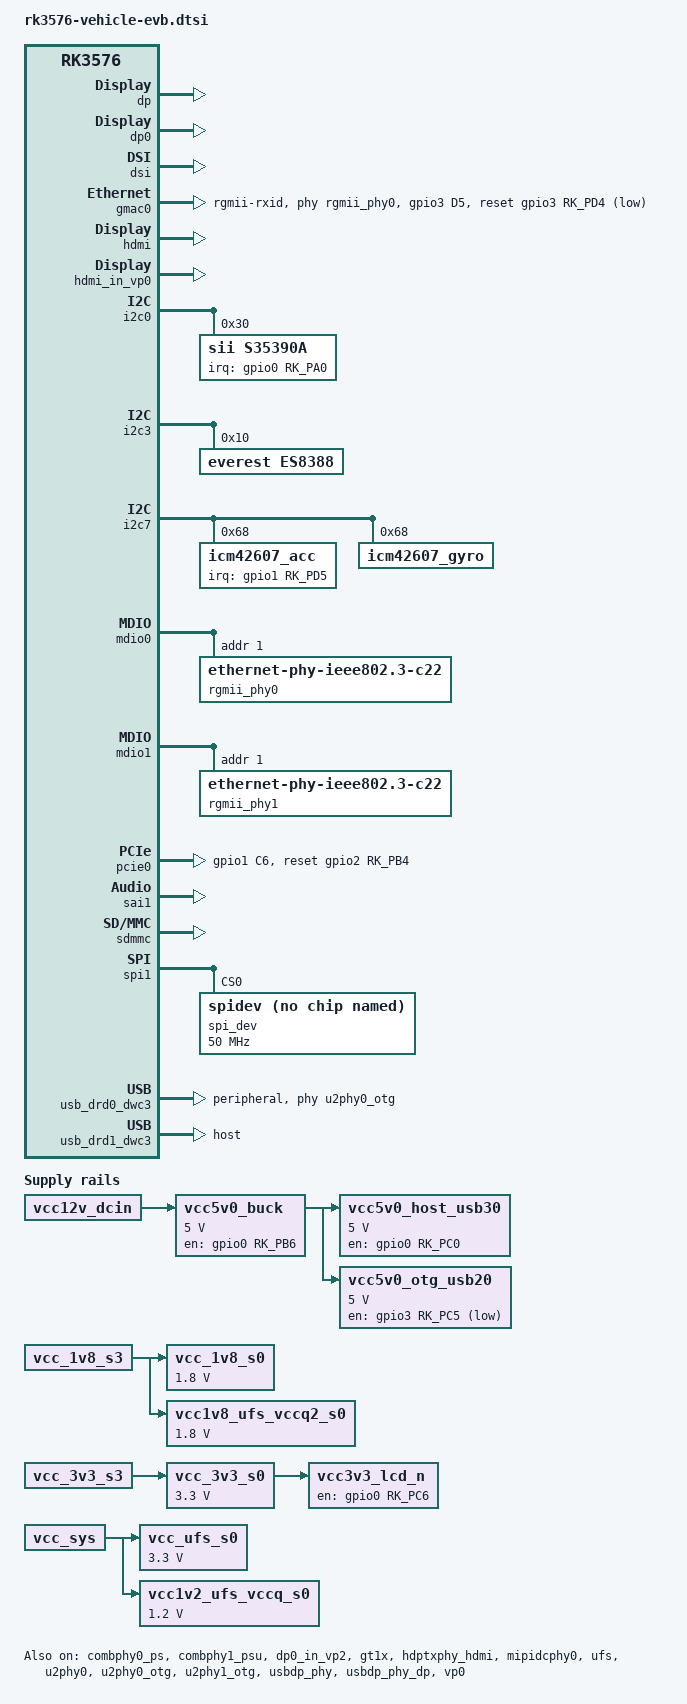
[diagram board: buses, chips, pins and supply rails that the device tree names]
// SPDX-License-Identifier: (GPL-2.0+ OR MIT)
/*
 * Copyright (c) 2024 Rockchip Electronics Co., Ltd.
 *
 */

#include "rk3576-vehicle.dtsi"
#include "rk3576-rk806.dtsi"

/ {
	vcc5v0_buck: vcc5v0-buck {
		compatible = "regulator-fixed";
		regulator-name = "vcc5v0_buck";
		regulator-boot-on;
		regulator-always-on;
		regulator-min-microvolt = <5000000>;
		regulator-max-microvolt = <5000000>;
		enable-active-high;
		gpio = <&gpio0 RK_PB6 GPIO_ACTIVE_HIGH>;
		vin-supply = <&vcc12v_dcin>;
		pinctrl-names = "default";
		pinctrl-0 = <&vcc5v0_buck_en>;
		startup-delay-us = <2500>;
		off-on-delay-us = <1500>;
		regulator-state-mem {
			regulator-on-in-suspend;
			regulator-suspend-microvolt = <5000000>;
		};
	};

	vcc_1v8_s0: vcc-1v8-s0 {
		compatible = "regulator-fixed";
		regulator-name = "vcc_1v8_s0";
		regulator-boot-on;
		regulator-always-on;
		regulator-min-microvolt = <1800000>;
		regulator-max-microvolt = <1800000>;
		vin-supply = <&vcc_1v8_s3>;
	};

	vcc_3v3_s0: vcc-3v3-s0 {
		compatible = "regulator-fixed";
		regulator-name = "vcc_3v3_s0";
		regulator-boot-on;
		regulator-always-on;
		regulator-min-microvolt = <3300000>;
		regulator-max-microvolt = <3300000>;
		vin-supply = <&vcc_3v3_s3>;
	};

	vcc_ufs_s0: vcc-ufs-s0 {
		compatible = "regulator-fixed";
		regulator-name = "vcc_ufs_s0";
		regulator-boot-on;
		regulator-always-on;
		regulator-min-microvolt = <3300000>;
		regulator-max-microvolt = <3300000>;
		vin-supply = <&vcc_sys>;
	};

	vcc1v8_ufs_vccq2_s0: vcc1v8-ufs-vccq2-s0 {
		compatible = "regulator-fixed";
		regulator-name = "vcc1v8_ufs_vccq2_s0";
		regulator-boot-on;
		regulator-always-on;
		regulator-min-microvolt = <1800000>;
		regulator-max-microvolt = <1800000>;
		vin-supply = <&vcc_1v8_s3>;
	};

	vcc1v2_ufs_vccq_s0: vcc1v2-ufs-vccq-s0 {
		compatible = "regulator-fixed";
		regulator-name = "vcc1v2_ufs_vccq_s0";
		regulator-boot-on;
		regulator-always-on;
		regulator-min-microvolt = <1200000>;
		regulator-max-microvolt = <1200000>;
		vin-supply = <&vcc_sys>;
	};

	vcc3v3_lcd_n: vcc3v3-lcd0-n {
		compatible = "regulator-fixed";
		regulator-name = "vcc3v3_lcd0_n";
		regulator-boot-on;
		enable-active-high;
		gpio = <&gpio0 RK_PC6 GPIO_ACTIVE_HIGH>;
		vin-supply = <&vcc_3v3_s0>;
	};

	vcc5v0_host_usb30: vcc5v0-host-usb30 {
		compatible = "regulator-fixed";
		regulator-name = "vcc5v0_host_usb30";
		//regulator-boot-on;
		//regulator-always-on;
		regulator-min-microvolt = <5000000>;
		regulator-max-microvolt = <5000000>;
		enable-active-high;
		gpio = <&gpio0 RK_PC0 GPIO_ACTIVE_HIGH>;
		pinctrl-names = "default";
		pinctrl-0 = <&usb_host3_pwren>;
		startup-delay-us = <2000>;
		off-on-delay-us = <16000>;
		vin-supply = <&vcc5v0_buck>;
	};

	vcc5v0_otg_usb20: vcc5v0-otg-usb20 {
		compatible = "regulator-fixed";
		regulator-name = "vcc5v0_otg_usb20";
		regulator-boot-on;
		regulator-always-on;
		regulator-min-microvolt = <5000000>;
		regulator-max-microvolt = <5000000>;
		//enable-active-high;
		gpio = <&gpio3 RK_PC5 GPIO_ACTIVE_HIGH>;
		pinctrl-names = "default";
		pinctrl-0 = <&usb_otg0_pwren>;
		startup-delay-us = <2000>;
		off-on-delay-us = <16000>;
		vin-supply = <&vcc5v0_buck>;
	};

	dummy_codec: dummy-codec {
		status = "okay";
		compatible = "rockchip,dummy-codec";
		#sound-dai-cells = <0>;
	};

	vehicle_adsp_sound: vehicle-adsp-sound {
		status = "okay";
		compatible = "simple-audio-card";
		simple-audio-card,name = "rockchip,tdm";
		simple-audio-card,format = "i2s";
		simple-audio-card,mclk-fs = <256>;
		simple-audio-card,cpu {
			sound-dai = <&sai1>;
			dai-tdm-slot-num = <8>;
			dai-tdm-slot-width = <32>;
		};
		simple-audio-card,codec {
			sound-dai = <&dummy_codec>;
		};
	};
};

&combphy0_ps {
	status = "okay";
};

&combphy1_psu {
	status = "okay";
};

&dp {
	status = "okay";
};

&dp0 {
	status = "okay";
};

&dp0_in_vp2 {
	status = "okay";
};

/*
 * mipidcphy0 needs to be enabled
 * when dsi is enabled
 */
&dsi {
	status = "okay";
};

&gmac0 {
	/* Use rgmii-rxid mode to disable rx delay inside Soc */
	phy-mode = "rgmii-rxid";
	clock_in_out = "output";

	snps,reset-gpio = <&gpio3 RK_PD4 GPIO_ACTIVE_LOW>;
	snps,reset-active-low;
	/* Reset time is 20ms, 100ms for rtl8211f */
	snps,reset-delays-us = <0 20000 100000>;

	pinctrl-names = "default";
	pinctrl-0 = <&eth0m0_miim
		     &eth0m0_tx_bus2
		     &eth0m0_rx_bus2
		     &eth0m0_rgmii_clk
		     &eth0m0_rgmii_bus
		     &phydisb>;

	tx_delay = <0x20>;
	/* rx_delay = <0x3f>; */

	phy-handle = <&rgmii_phy0>;
	status = "okay";
};

&gmac1 {
	/* Use rgmii-rxid mode to disable rx delay inside Soc */
	phy-mode = "rgmii-rxid";
	clock_in_out = "output";

	snps,reset-gpio = <&gpio3 RK_PA3 GPIO_ACTIVE_LOW>;
	snps,reset-active-low;
	/* Reset time is 20ms, 100ms for rtl8211f */
	snps,reset-delays-us = <0 20000 100000>;

	pinctrl-names = "default";
	pinctrl-0 = <&eth1m0_miim
		     &eth1m0_tx_bus2
		     &eth1m0_rx_bus2
		     &eth1m0_rgmii_clk
		     &eth1m0_rgmii_bus
		     &ethm0_clk1_25m_out>;

	tx_delay = <0x20>;
	/* rx_delay = <0x3f>; */

	phy-handle = <&rgmii_phy1>;
	status = "disabled";
};

&gt1x {
	status = "okay";
	power-supply = <&vcc3v3_lcd_n>;
};

&hdmi {
	status = "okay";
	enable-gpios = <&gpio2 RK_PB0 GPIO_ACTIVE_HIGH>;
};

&hdmi_in_vp0 {
	status = "okay";
};

&hdptxphy_hdmi {
	status = "okay";
};

&i2c0 {
	s35390a: s35390a@30 {
		compatible = "sii,s35390a";
		reg = <0x30>;
		pinctrl-names = "default";
		pinctrl-0 = <&s35390a_int>;
		interrupt-parent = <&gpio0>;
		interrupts = <RK_PA0 IRQ_TYPE_LEVEL_LOW>;
		wakeup-source;
	};
};

&i2c3 {
	status = "okay";
	es8388: es8388@10 {
		status = "okay";
		#sound-dai-cells = <0>;
		compatible = "everest,es8388", "everest,es8323";
		reg = <0x10>;
		clocks = <&mclkout_sai1>;
		clock-names = "mclk";
		assigned-clocks = <&mclkout_sai1>;
		assigned-clock-rates = <12288000>;
		pinctrl-names = "default";
		pinctrl-0 = <&sai1m0_mclk>;
	};
};

&i2c7 {
	status = "okay";
	pinctrl-names = "default";
	pinctrl-0 = <&i2c7m1_xfer>;

	icm42607_acc: icm_acc@68 {
		status = "okay";
		compatible = "icm42607_acc";
		reg = <0x68>;
		irq-gpio = <&gpio1 RK_PD5 IRQ_TYPE_EDGE_RISING>;
		irq_enable = <0>;
		poll_delay_ms = <30>;
		type = <SENSOR_TYPE_ACCEL>;
		layout = <4>;
	};

	icm42607_gyro: icm_gyro@68 {
		status = "okay";
		compatible = "icm42607_gyro";
		reg = <0x68>;
		poll_delay_ms = <30>;
		type = <SENSOR_TYPE_GYROSCOPE>;
		layout = <4>;
	};
};

&mdio0 {
	rgmii_phy0: phy@1 {
		compatible = "ethernet-phy-ieee802.3-c22";
		reg = <0x1>;
		clocks = <&cru REFCLKO25M_GMAC0_OUT>;
	};
};

&mdio1 {
	rgmii_phy1: phy@1 {
		compatible = "ethernet-phy-ieee802.3-c22";
		reg = <0x1>;
		clocks = <&cru REFCLKO25M_GMAC1_OUT>;
	};
};

&mipidcphy0 {
	status = "okay";
};

&pcie0 {
	reset-gpios = <&gpio2 RK_PB4 GPIO_ACTIVE_HIGH>;
	rockchip,skip-scan-in-resume;
	pinctrl-names = "default";
	pinctrl-0 = <&wifi_poweren_gpio>;
	status = "okay";
};

&pdm1 {
	status = "disabled";
	pinctrl-names = "default", "idle", "clk";
	pinctrl-0 = <&pdm1m1_sdi0
		     &pdm1m1_sdi1
		     &pdm1m1_sdi2
		     &pdm1m1_sdi3>;
	pinctrl-1 = <&pdm1m1_clk0_idle
		     &pdm1m1_clk1_idle>;
	pinctrl-2 = <&pdm1m1_clk0
		     &pdm1m1_clk1>;
};

&pinctrl {
	gmac0 {
		phydisb: phydisb {
			rockchip,pins = <3 RK_PD5 RK_FUNC_GPIO &pcfg_output_high>;
		};
	};

	s35390a {
		s35390a_int: s35390a-int {
			rockchip,pins = <0 RK_PA0 RK_FUNC_GPIO &pcfg_pull_up>;
		};
	};

	usb {
		usb_host3_pwren: usb-host3-pwren {
			rockchip,pins = <0 RK_PC0 RK_FUNC_GPIO &pcfg_pull_none>;
		};
		usb_otg0_pwren: usb-otg0-pwren {
			rockchip,pins = <3 RK_PC5 RK_FUNC_GPIO &pcfg_pull_none>;
		};
	};

	vcc5v0-buck {
		vcc5v0_buck_en: vcc5v0-buck-en {
			rockchip,pins = <0 RK_PB6 RK_FUNC_GPIO &pcfg_pull_none>;
		};
	};

	wireless-bluetooth {
		uart4_gpios: uart4-gpios {
			rockchip,pins = <1 RK_PC2 RK_FUNC_GPIO &pcfg_pull_none>;
		};
	};

	wireless-wlan {
		wifi_host_wake_irq: wifi-host-wake-irq {
			rockchip,pins = <0 RK_PB0 RK_FUNC_GPIO &pcfg_pull_down>;
		};

		wifi_poweren_gpio: wifi-poweren-gpio {
			rockchip,pins = <1 RK_PC6 RK_FUNC_GPIO &pcfg_pull_up>;
		};
	};
};

&route_hdmi {
	status = "disabled";
	connect = <&vp0_out_hdmi>;
};

&sai1 {
	status = "okay";
	rockchip,tdm-tx-lanes = <3>;
	rockchip,tdm-rx-lanes = <2>;
	pinctrl-names = "default";
	pinctrl-0 = <&sai1m0_lrck
		     &sai1m0_sclk
		     &sai1m0_sdi0
		     &sai1m0_sdi1
		     &sai1m0_sdo0
		     &sai1m0_sdo1
		     &sai1m0_sdo2>;
};

&sdmmc {
	status = "okay";
};

&spi1 {
	status = "okay";
	max-freq = <50000000>; /* spi internal clk, don't modify */
	pinctrl-names = "default", "high_speed";
	pinctrl-0 = <&spi1m1_csn0 &spi1m1_pins>;
	spi_dev@0 {
		compatible = "rockchip,spidev";
		reg = <0>;
		spi-max-frequency = <50000000>;
		spi-lsb-first;
	};
};

&ufs {
	vcc-supply = <&vcc_ufs_s0>;
	vccq-supply = <&vcc1v2_ufs_vccq_s0>;
	vccq2-supply = <&vcc1v8_ufs_vccq2_s0>;
	status = "okay";
};

&u2phy0 {
	status = "okay";
};

&u2phy0_otg {
	rockchip,sel-pipe-phystatus;
	rockchip,dis-u2-susphy;
	//vbus-supply = <&vcc5v0_otg_usb20>;
	status = "okay";
};

&u2phy1_otg {
	phy-supply = <&vcc5v0_host_usb30>;
	status = "okay";
};

&usbdp_phy {
	rockchip,dp-lane-mux = < 0 1 2 3 >;
	status = "okay";
};

&usbdp_phy_dp {
	status = "okay";
};

&usbdp_phy_u3 {
	status = "disabled";
};

&usb_drd0_dwc3 {
	phys = <&u2phy0_otg>;
	phy-names = "usb2-phy";
	dr_mode = "peripheral";
	maximum-speed = "high-speed";
	extcon = <&u2phy0>;
	snps,dis_u2_susphy_quirk;
	snps,usb2-lpm-disable;
	status = "okay";
};

&usb_drd1_dwc3 {
	dr_mode = "host";
	status = "okay";
};

&vp0 {
	status = "okay";
};
